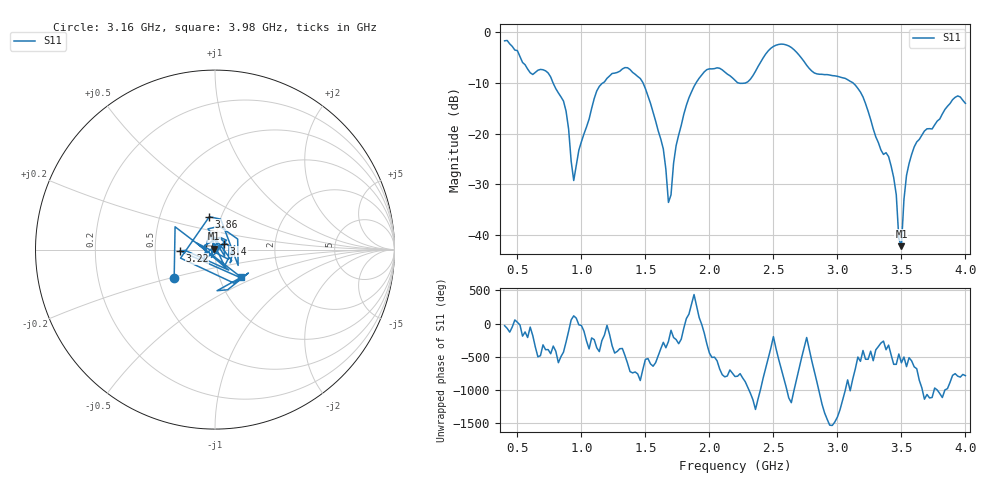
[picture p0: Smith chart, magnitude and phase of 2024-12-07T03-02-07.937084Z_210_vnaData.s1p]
!Created with skrf (http://scikit-rf.org).
# Hz S RI R 50.0
!freq ReS11 ImS11
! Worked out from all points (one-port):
!   181 points, 400 MHz to 4 GHz, reference 50 ohm
!   lowest |S11| = -42.2 dB at 3.5 GHz (marker M1), VSWR 1.02, Z = 49.5 + j0.605 ohm
!   |S11| at or under -10 dB: 778.1 MHz to 1.17 GHz (391.6 MHz wide, 40.2 % of centre); 1.481 GHz to 1.896 GHz (415.4 MHz wide, 24.6 % of centre); 3.121 GHz to end of sweep (the widest 3 of 4)
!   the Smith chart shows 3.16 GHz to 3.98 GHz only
!   S11 on the Smith chart (normalised r, x): 3.16 GHz: 0.60, -0.21; 3.22 GHz: 0.67, -0.01; 3.4 GHz: 1.10, +0.07; 3.86 GHz: 0.88, +0.33; 3.98 GHz: 1.27, -0.41
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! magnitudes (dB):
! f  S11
! 400 MHz  -1.7
! 600 MHz  -8.0
! 740 MHz  -8.1
! 860 MHz  -13.6
! 940 MHz  -29.2
! 1.12 GHz  -11.6
! 1.3 GHz  -7.7
! 1.5 GHz  -11.1
! 1.64 GHz  -23.0
! 1.68 GHz  -33.6
! 1.76 GHz  -20.3
! 1.96 GHz  -7.8
! 2.2 GHz  -9.5
! 2.3 GHz  -9.8
! 2.5 GHz  -2.9
! 2.66 GHz  -3.5
! 3.1 GHz  -9.7
! 3.16 GHz  -11.1
! 3.22 GHz  -14.1
! 3.4 GHz  -24.5
! 3.46 GHz  -32.0
! 3.48 GHz  -40.7
! 3.5 GHz  -42.2
! 3.52 GHz  -33.0
! 3.56 GHz  -25.9
! 3.86 GHz  -14.6
! 3.98 GHz  -13.4
! 4 GHz  -14.1
